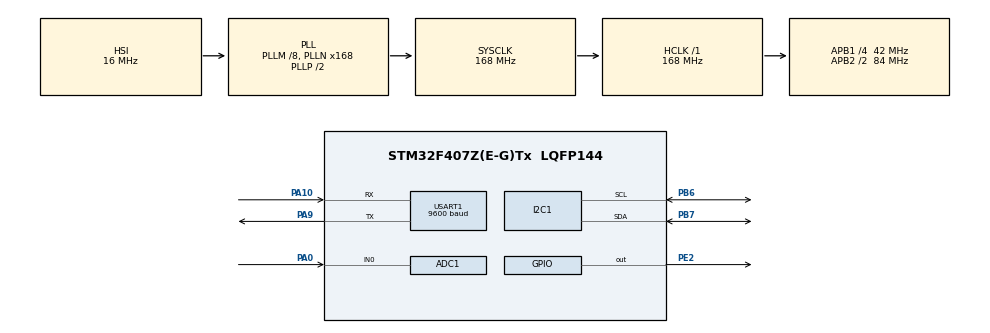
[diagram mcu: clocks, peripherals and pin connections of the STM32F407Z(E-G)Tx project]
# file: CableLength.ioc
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ADC1.Channel-1\#ChannelRegularConversion=ADC_CHANNEL_0
ADC1.NbrOfConversionFlag=1
ADC1.Rank-1\#ChannelRegularConversion=1
ADC1.SamplingTime-1\#ChannelRegularConversion=ADC_SAMPLETIME_3CYCLES
ADC1.master=1
Mcu.Family=STM32F4
Mcu.Name=STM32F407Z(E-G)Tx
Mcu.Package=LQFP144
NVIC.PriorityGroup=NVIC_PRIORITYGROUP_4
NVIC.USART1_IRQn=true\:0\:0\:false\:false\:true\:true\:true\:true
PA0-WKUP.Signal=ADCx_IN0
PA10.Mode=Asynchronous
PA10.Signal=USART1_RX
PA13.Mode=Serial_Wire
PA13.Signal=SYS_JTMS-SWDIO
PA14.Mode=Serial_Wire
PA14.Signal=SYS_JTCK-SWCLK
PA9.Mode=Asynchronous
PA9.Signal=USART1_TX
PB6.Mode=I2C
PB6.Signal=I2C1_SCL
PB7.Mode=I2C
PB7.Signal=I2C1_SDA
PE2.Signal=GPIO_Output
PH0-OSC_IN.Mode=HSE-External-Oscillator
PH0-OSC_IN.Signal=RCC_OSC_IN
PH1-OSC_OUT.Mode=HSE-External-Oscillator
PH1-OSC_OUT.Signal=RCC_OSC_OUT
ProjectManager.HeapSize=0x200
ProjectManager.StackSize=0x400
ProjectManager.TargetToolchain=CMake
RCC.48MHZClocksFreq_Value=84000000
RCC.AHBFreq_Value=168000000
RCC.APB1CLKDivider=RCC_HCLK_DIV4
RCC.APB1Freq_Value=42000000
RCC.APB1TimFreq_Value=84000000
RCC.APB2CLKDivider=RCC_HCLK_DIV2
RCC.APB2Freq_Value=84000000
RCC.APB2TimFreq_Value=168000000
RCC.CortexFreq_Value=168000000
RCC.HCLKFreq_Value=168000000
RCC.HSE_VALUE=25000000
RCC.HSI_VALUE=16000000
RCC.LSE_VALUE=32768
RCC.PLLM=8
RCC.PLLN=168
RCC.SYSCLKFreq_VALUE=168000000
RCC.SYSCLKSource=RCC_SYSCLKSOURCE_PLLCLK
RCC.VCOOutputFreq_Value=336000000
SH.ADCx_IN0.0=ADC1_IN0,IN0
USART1.BaudRate=9600
USART1.VirtualMode=VM_ASYNC
board=custom

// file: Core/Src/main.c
/* USER CODE BEGIN Header */
/* USER CODE END Header */
#include "main.h"
#include "adc.h"
#include "i2c.h"
#include "usart.h"
#include "gpio.h"

/* USER CODE BEGIN Includes */
#include "../users/delay.h"
#include <stdio.h>
#include "stm32f4xx_hal.h"
#include "../users/FDC2214.h"
#include "../users/sys.h"
#include "../users/myiic.h"
#include "tjcHMI.h"
#include <string.h>

double cap_val;
double cap_val2;
double difference;
double Calculate_Cable_Length_cm(double capacitance_pf);

/* USER CODE END Includes */

void SystemClock_Config(void);

/* USER CODE BEGIN 0 */

extern UART_HandleTypeDef huart1;//tjc串口屏
//printf
// int __io_putchar(int ch) {
//   HAL_UART_Transmit(&huart1, (uint8_t *)&ch, 1, HAL_MAX_DELAY);
//   return ch;
// }
//scanf
// int __io_getchar(void) {
//   uint8_t ch=0;
//   HAL_UART_Receive(&huart1,&ch,1,HAL_MAX_DELAY);
//   return ch;
// }

/* USER CODE END 0 */

int main(void)
{

  /* MCU Configuration--------------------------------------------------------*/

  /* Reset of all peripherals, Initializes the Flash interface and the Systick. */
  HAL_Init();

  /* Configure the system clock */
  SystemClock_Config();

  /* Initialize all configured peripherals */
  MX_GPIO_Init();
  MX_I2C1_Init();
  MX_USART1_UART_Init();
  MX_ADC1_Init();
  /* USER CODE BEGIN 2 */
  FDC2214_Init();
  iic_init();
  setbuf(stdout, NULL);
  tjcHMI_Init();

  /* USER CODE END 2 */

  /* Infinite loop */
  /* USER CODE BEGIN WHILE */
  while (1)
  {
    if (tjc_numFlag == 1) {
      tjc_numFlag = 0;//标志为

      //???????
      if (tjc_rxNum == 1) {
        tjc_rxNum = 0;
        tjcSetText("t8","...");
        tjcSetText("t9","0");
        tjcSetText("t6","??????");
        tjcSetText("t7","0");
        //??????
        HAL_I2C_DeInit(&hi2c1);
        HAL_Delay(10);
        MX_I2C1_Init();

        uint8_t init_status = FDC2214_Init();
        HAL_Delay(50);
        if (init_status != 0) {
          tjcSetText("t6","????");
        }
        else {
          cap_val = FDC2214_Measure_High_Precision(1, 3500);
          HAL_Delay(200);
        }

        tjcSetText("t6","???????");
        double Length = Calculate_Cable_Length_cm(cap_val);
        printf("t7.txt=\"%.1fcm\"\xff\xff\xff",Length+0.04);//?????????????С??????

      }

      //??????
      else if (tjc_rxNum == 2) {
        tjc_rxNum = 0;
        HAL_I2C_DeInit(&hi2c1);
        HAL_Delay(10);
        MX_I2C1_Init();
        tjcSetText("t6","??");

        uint8_t init_status = FDC2214_Init();
        HAL_Delay(50);
        if (init_status != 0) {
          tjcSetText("t6","????");
        }
        else {
          cap_val2 = FDC2214_Measure_High_Precision(1, 3500);
          difference=cap_val2-cap_val;
          HAL_Delay(200);
        }
        if (difference<5&&difference>-5) {
          tjcSetText("t8","???");
        }
        else if (difference>=5) {
          tjcSetText("t8","????");
          printf("t9.txt=\"%.1fpf\"\xff\xff\xff",difference);
        }
        else if (difference<-5) {
          tjcSetText("t8","????");

        }
        tjcSetText("t6","???????");

      }
    // HAL_I2C_DeInit(&hi2c1);
    // HAL_Delay(10);
    // MX_I2C1_Init();
    //
    // uint8_t init_status = FDC2214_Init();
    // HAL_Delay(50);
    // if (init_status != 0) {
    //   tjcSetText("t6","???????");
    // }
    // else {
    //   cap_val = FDC2214_Measure_High_Precision(1, 500);
    //   //cap_val = FDC2214_100pf(0);
    //   HAL_Delay(200);
    //   tjcSetText("t6","???????");
    //   printf("t7.txt=\"%.1fpf\"\xff\xff\xff",cap_val);

    }

    /* USER CODE END WHILE */

  }
}

void SystemClock_Config(void)
{
  RCC_OscInitTypeDef RCC_OscInitStruct = {0};
  RCC_ClkInitTypeDef RCC_ClkInitStruct = {0};

  /** Configure the main internal regulator output voltage
  */
  __HAL_RCC_PWR_CLK_ENABLE();
  __HAL_PWR_VOLTAGESCALING_CONFIG(PWR_REGULATOR_VOLTAGE_SCALE1);

  /** Initializes the RCC Oscillators according to the specified parameters
  * in the RCC_OscInitTypeDef structure.
  */
  RCC_OscInitStruct.OscillatorType = RCC_OSCILLATORTYPE_HSI;
  RCC_OscInitStruct.HSIState = RCC_HSI_ON;
  RCC_OscInitStruct.HSICalibrationValue = RCC_HSICALIBRATION_DEFAULT;
  RCC_OscInitStruct.PLL.PLLState = RCC_PLL_ON;
  RCC_OscInitStruct.PLL.PLLSource = RCC_PLLSOURCE_HSI;
  RCC_OscInitStruct.PLL.PLLM = 8;
  RCC_OscInitStruct.PLL.PLLN = 168;
  RCC_OscInitStruct.PLL.PLLP = RCC_PLLP_DIV2;
  RCC_OscInitStruct.PLL.PLLQ = 4;
  if (HAL_RCC_OscConfig(&RCC_OscInitStruct) != HAL_OK)
  {
    Error_Handler();
  }

  /** Initializes the CPU, AHB and APB buses clocks
  */
  RCC_ClkInitStruct.ClockType = RCC_CLOCKTYPE_HCLK|RCC_CLOCKTYPE_SYSCLK
                              |RCC_CLOCKTYPE_PCLK1|RCC_CLOCKTYPE_PCLK2;
  RCC_ClkInitStruct.SYSCLKSource = RCC_SYSCLKSOURCE_PLLCLK;
  RCC_ClkInitStruct.AHBCLKDivider = RCC_SYSCLK_DIV1;
  RCC_ClkInitStruct.APB1CLKDivider = RCC_HCLK_DIV4;
  RCC_ClkInitStruct.APB2CLKDivider = RCC_HCLK_DIV2;

  if (HAL_RCC_ClockConfig(&RCC_ClkInitStruct, FLASH_LATENCY_5) != HAL_OK)
  {
    Error_Handler();
  }
}

/* USER CODE BEGIN 4 */
void HAL_UART_RxCpltCallback(UART_HandleTypeDef *huart) {
  if (huart->Instance == USART1) {
    extern uint8_t tjc_rx_temp;
    tjc_FeedRxByte(tjc_rx_temp);
  }
}

/**
 * @brief  ???????????????????????
 * @param  capacitance_pf: ?????????????????????? double??????? pF
 * @retval ????????????????????????? double??????? cm
 */
double Calculate_Cable_Length_cm(double capacitance_pf)
{
  double length_cm;

  // ???????????????????????????????? 58.4pF?????????? 0.0 cm
  if (capacitance_pf < 58.4)
  {
    return 0.0;
  }

  // ????????????????????????????????? pow() ????
  // ???: L = (((c4 * C + c3) * C + c2) * C + c1) * C + c0
  // ????????????????????????????? 100 ????????
  length_cm = (2.70761e-11 * capacitance_pf - 2.47248e-7) * capacitance_pf + 3.85890e-4;
  length_cm = (length_cm * capacitance_pf + 1.07228) * capacitance_pf - 63.8886;

  // ????????????????????????????????? 0.0
  if (length_cm < 0.0)
  {
    length_cm = 0.0;
  }

  return length_cm;
}
/* USER CODE END 4 */

void Error_Handler(void)
{
  __disable_irq();
  while (1)
  {
  }
}
